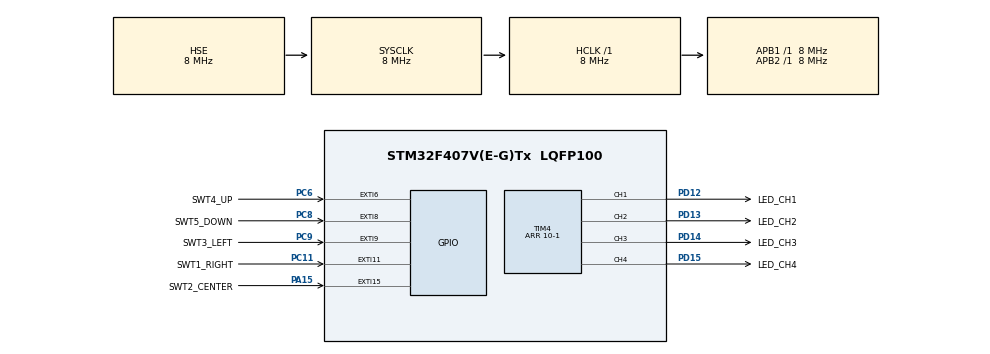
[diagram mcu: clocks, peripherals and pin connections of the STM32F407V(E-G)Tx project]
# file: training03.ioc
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Mcu.Family=STM32F4
Mcu.Name=STM32F407V(E-G)Tx
Mcu.Package=LQFP100
Mcu.UserConstants=TIM4_PRESCALER,1
NVIC.EXTI15_10_IRQn=true\:0\:0\:false\:false\:true\:true\:true
NVIC.EXTI9_5_IRQn=true\:0\:0\:false\:false\:true\:true\:true
NVIC.PriorityGroup=NVIC_PRIORITYGROUP_4
PA13.Mode=Serial_Wire
PA13.Signal=SYS_JTMS-SWDIO
PA14.Mode=Serial_Wire
PA14.Signal=SYS_JTCK-SWCLK
PA15.GPIO_Label=SWT2_CENTER
PA15.GPIO_ModeDefaultEXTI=GPIO_MODE_IT_FALLING
PA15.Signal=GPXTI15
PC11.GPIO_Label=SWT1_RIGHT
PC11.GPIO_ModeDefaultEXTI=GPIO_MODE_IT_FALLING
PC11.Signal=GPXTI11
PC6.GPIO_Label=SWT4_UP
PC6.GPIO_ModeDefaultEXTI=GPIO_MODE_IT_FALLING
PC6.Signal=GPXTI6
PC8.GPIO_Label=SWT5_DOWN
PC8.GPIO_ModeDefaultEXTI=GPIO_MODE_IT_FALLING
PC8.Signal=GPXTI8
PC9.GPIO_Label=SWT3_LEFT
PC9.GPIO_ModeDefaultEXTI=GPIO_MODE_IT_FALLING
PC9.Signal=GPXTI9
PD12.GPIO_Label=LED_CH1
PD12.GPIO_PuPd=GPIO_PULLDOWN
PD12.Signal=SharedStack_PD12
PD12.Stacked=true
PD13.GPIO_Label=LED_CH2
PD13.GPIO_PuPd=GPIO_PULLDOWN
PD13.Signal=SharedStack_PD13
PD13.Stacked=true
PD14.GPIO_Label=LED_CH3
PD14.GPIO_PuPd=GPIO_PULLDOWN
PD14.Signal=SharedStack_PD14
PD14.Stacked=true
PD15.GPIO_Label=LED_CH4
PD15.GPIO_PuPd=GPIO_PULLDOWN
PD15.Signal=SharedStack_PD15
PD15.Stacked=true
PH0-OSC_IN.Mode=HSE-External-Oscillator
PH0-OSC_IN.Signal=RCC_OSC_IN
PH1-OSC_OUT.Mode=HSE-External-Oscillator
PH1-OSC_OUT.Signal=RCC_OSC_OUT
ProjectManager.HeapSize=0x200
ProjectManager.StackSize=0x400
ProjectManager.TargetToolchain=STM32CubeIDE
RCC.48MHZClocksFreq_Value=40000000
RCC.AHBFreq_Value=8000000
RCC.APB1Freq_Value=8000000
RCC.APB1TimFreq_Value=8000000
RCC.APB2Freq_Value=8000000
RCC.APB2TimFreq_Value=8000000
RCC.CortexFreq_Value=8000000
RCC.HCLKFreq_Value=8000000
RCC.HSE_VALUE=8000000
RCC.HSI_VALUE=16000000
RCC.LSE_VALUE=32768
RCC.PLLM=8
RCC.PLLN=160
RCC.PLLSourceVirtual=RCC_PLLSOURCE_HSE
RCC.SYSCLKFreq_VALUE=8000000
RCC.SYSCLKSource=RCC_SYSCLKSOURCE_HSE
RCC.VCOOutputFreq_Value=160000000
SH.SharedStack_PD12.0=TIM4_CH1,PWM Generation1 CH1
SH.SharedStack_PD12.1=GPIO_Output+0
SH.SharedStack_PD13.0=TIM4_CH2,PWM Generation2 CH2
SH.SharedStack_PD13.1=GPIO_Output+0
SH.SharedStack_PD14.0=TIM4_CH3,PWM Generation3 CH3
SH.SharedStack_PD14.1=GPIO_Output+0
SH.SharedStack_PD15.0=GPIO_Output+0
SH.SharedStack_PD15.1=TIM4_CH4,PWM Generation4 CH4
TIM4.AutoReloadPreload=TIM_AUTORELOAD_PRELOAD_ENABLE
TIM4.Channel-PWM\ Generation1\ CH1=TIM_CHANNEL_1
TIM4.Channel-PWM\ Generation2\ CH2=TIM_CHANNEL_2
TIM4.Channel-PWM\ Generation3\ CH3=TIM_CHANNEL_3
TIM4.Channel-PWM\ Generation4\ CH4=TIM_CHANNEL_4
TIM4.Period=10-1
TIM4.Prescaler=TIM4_PRESCALER-1
TIM4.Pulse-PWM\ Generation1\ CH1=0
TIM4.Pulse-PWM\ Generation2\ CH2=0
TIM4.Pulse-PWM\ Generation3\ CH3=0
TIM4.Pulse-PWM\ Generation4\ CH4=0
VP_TIM4_VS_ClockSourceINT.Mode=Internal
board=custom

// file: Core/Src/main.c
/* USER CODE BEGIN Header */
/**
  ******************************************************************************
  * @file           : main.c
  * @brief          : Main program body
  ******************************************************************************
  * @attention
  *
  * <h2><center>&copy; Copyright (c) 2021 STMicroelectronics.
  * All rights reserved.</center></h2>
  *
  * This software component is licensed by ST under BSD 3-Clause license,
  * the "License"; You may not use this file except in compliance with the
  * License. You may obtain a copy of the License at:
  *                        opensource.org/licenses/BSD-3-Clause
  *
  ******************************************************************************
  */
/* USER CODE END Header */
#include "main.h"

/* USER CODE BEGIN PTD */
typedef enum TimChannel {
	TIM_CH_0 = 0,
	TIM_CH_1,
	TIM_CH_2,
	TIM_CH_3,
	TIM_CH_END,
} TimChannel;
typedef struct PwmState {
	TimChannel ch;
	uint8_t pwm;
	int32_t freq;
	int32_t baseFreq;
} PwmState;
/* USER CODE END PTD */

/* USER CODE BEGIN PD */
#define PWM_DCYCLE_STEP 5
#define PWM_FREQ_STEP 5000
#define PWM_FREQ_MIN PWM_FREQ_STEP
#define PWM_FREQ_MAX (20*PWM_FREQ_STEP)
#define PWM_MAX_DUTY 100
#define PWM_MIN_DUTY 0
/* USER CODE END PD */

TIM_HandleTypeDef htim4;

/* USER CODE BEGIN PV */
volatile PwmState pwm = {.ch = TIM_CH_0, .pwm = 50, .freq = PWM_FREQ_STEP, .baseFreq = -1};
/* USER CODE END PV */

void SystemClock_Config(void);
static void MX_GPIO_Init(void);
static void MX_TIM4_Init(void);
/* USER CODE BEGIN PFP */
void updatePWM(volatile const PwmState *pwm);
int32_t divRound(int32_t x, int32_t y);
/* USER CODE END PFP */

/* USER CODE BEGIN 0 */
/**
  * @brief  EXTI line detection callbacks.
  * @param  GPIO_Pin Specifies the pins connected EXTI line
  * @retval None
  */
void HAL_GPIO_EXTI_Callback(uint16_t GPIO_Pin)
{
	switch(GPIO_Pin) {
	case SWT2_CENTER_Pin:
		// Next channel
		if ((++pwm.ch) >= TIM_CH_END)
			pwm.ch = TIM_CH_0;
		updatePWM(&pwm);
		break;
	case SWT1_RIGHT_Pin:
		// Increase width
	{
		register int8_t timPWMNew = pwm.pwm + PWM_DCYCLE_STEP;
		pwm.pwm = (timPWMNew > PWM_MAX_DUTY) ? PWM_MAX_DUTY : (uint8_t)timPWMNew;
		updatePWM(&pwm);
	}
	break;
	case SWT3_LEFT_Pin:
		// Decrease width
	{
		register int8_t timPWMNew = pwm.pwm - PWM_DCYCLE_STEP;
		pwm.pwm = (timPWMNew < PWM_MIN_DUTY) ? PWM_MIN_DUTY : (uint8_t)timPWMNew;
		updatePWM(&pwm);
	}
	break;
	case SWT4_UP_Pin:
		// Increase frequency
	{
		register int32_t timFreqNew = pwm.freq + PWM_FREQ_STEP;
		pwm.freq = (timFreqNew > PWM_FREQ_MAX) ? PWM_FREQ_MAX : (uint32_t)timFreqNew;
		updatePWM(&pwm);
	}
		break;
	case SWT5_DOWN_Pin:
		// Decrease frequency
	{
		register int32_t timFreqNew = pwm.freq - PWM_FREQ_STEP;
		pwm.freq = (timFreqNew < PWM_FREQ_MIN) ? PWM_FREQ_MIN : (uint32_t)timFreqNew;
		updatePWM(&pwm);
	}
		break;
	}
}

/**
 * Update TIM4 registers to selected PWM state
 */
void updatePWM(volatile const PwmState *pwm)
{
	uint16_t pwmPeriod = (uint16_t)divRound(pwm->baseFreq, pwm->freq);
	uint16_t pwmValue = (uint16_t)divRound(pwmPeriod * pwm->pwm, 100);
	htim4.Instance->ARR = pwmPeriod-1;
	switch(pwm->ch) {
	case TIM_CH_0:
		htim4.Instance->CCR1 = pwmValue;
		htim4.Instance->CCR2 = 0;
		htim4.Instance->CCR3 = 0;
		htim4.Instance->CCR4 = 0;
		break;
	case TIM_CH_1:
		htim4.Instance->CCR1 = 0;
		htim4.Instance->CCR2 = pwmValue;
		htim4.Instance->CCR3 = 0;
		htim4.Instance->CCR4 = 0;
		break;
	case TIM_CH_2:
		htim4.Instance->CCR1 = 0;
		htim4.Instance->CCR2 = 0;
		htim4.Instance->CCR3 = pwmValue;
		htim4.Instance->CCR4 = 0;
		break;
	case TIM_CH_3:
		htim4.Instance->CCR1 = 0;
		htim4.Instance->CCR2 = 0;
		htim4.Instance->CCR3 = 0;
		htim4.Instance->CCR4 = pwmValue;
		break;
	default:
		htim4.Instance->CCR1 = 0;
		htim4.Instance->CCR2 = 0;
		htim4.Instance->CCR3 = 0;
		htim4.Instance->CCR4 = 0;
	}
}

/**
  * @brief This function provides minimum delay (in milliseconds) based
  *        on variable incremented.
  * @note Based on default implementation but with sleep between ms tick,
  *       SysTick timer is the source of time base.
  *       It is used to generate interrupts at regular time intervals where uwTick
  *       is incremented.
  * @param Delay specifies the delay time length, in milliseconds.
  * @retval None
  */
void HAL_Delay(uint32_t Delay)
{
  uint32_t tickstart = HAL_GetTick();
  uint32_t wait = Delay;

  /* Add a freq to guarantee minimum wait */
  if (wait < HAL_MAX_DELAY)
  {
    wait += (uint32_t)(uwTickFreq);
  }

  while((HAL_GetTick() - tickstart) < wait)
  {
	  HAL_PWR_EnterSLEEPMode(PWR_MAINREGULATOR_ON, PWR_SLEEPENTRY_WFI);
  }
}

/**
 * Return result of division x/y with math rounding
 */
int32_t divRound(int32_t x, int32_t y) {
	if (y == 0) return 0;

	int8_t resultSign = 1;
	if (x < 0) {
		resultSign = -resultSign;
		x = -x;
	}
	if (y < 0) {
		resultSign = -resultSign;
		y = -y;
	}
	int32_t decimalPart = (x*10 / y) % 10;
	int32_t result = x / y;
	if (decimalPart >= 5) result += 1;
	if (resultSign < 0) result = -result;
	return result;
}
/* USER CODE END 0 */

int main(void)
{

  /* MCU Configuration--------------------------------------------------------*/

  /* Reset of all peripherals, Initializes the Flash interface and the Systick. */
  HAL_Init();

  /* Configure the system clock */
  SystemClock_Config();

  /* Initialize all configured peripherals */
  MX_GPIO_Init();
  MX_TIM4_Init();
  /* USER CODE BEGIN 2 */
  pwm.baseFreq = (int32_t)HAL_RCC_GetPCLK1Freq();
  HAL_TIM_PWM_Start(&htim4, TIM_CHANNEL_1);
  HAL_TIM_PWM_Start(&htim4, TIM_CHANNEL_2);
  HAL_TIM_PWM_Start(&htim4, TIM_CHANNEL_3);
  HAL_TIM_PWM_Start(&htim4, TIM_CHANNEL_4);
  updatePWM(&pwm);
  /* USER CODE END 2 */

  /* Infinite loop */
  /* USER CODE BEGIN WHILE */
  while (1)
  {
	  HAL_PWR_EnterSLEEPMode(PWR_MAINREGULATOR_ON, PWR_SLEEPENTRY_WFI); // sleep to next interrupt
    /* USER CODE END WHILE */

  }
}

void SystemClock_Config(void)
{
  RCC_OscInitTypeDef RCC_OscInitStruct = {0};
  RCC_ClkInitTypeDef RCC_ClkInitStruct = {0};

  /** Configure the main internal regulator output voltage
  */
  __HAL_RCC_PWR_CLK_ENABLE();
  __HAL_PWR_VOLTAGESCALING_CONFIG(PWR_REGULATOR_VOLTAGE_SCALE1);
  /** Initializes the RCC Oscillators according to the specified parameters
  * in the RCC_OscInitTypeDef structure.
  */
  RCC_OscInitStruct.OscillatorType = RCC_OSCILLATORTYPE_HSE;
  RCC_OscInitStruct.HSEState = RCC_HSE_ON;
  RCC_OscInitStruct.PLL.PLLState = RCC_PLL_NONE;
  if (HAL_RCC_OscConfig(&RCC_OscInitStruct) != HAL_OK)
  {
    Error_Handler();
  }
  /** Initializes the CPU, AHB and APB buses clocks
  */
  RCC_ClkInitStruct.ClockType = RCC_CLOCKTYPE_HCLK|RCC_CLOCKTYPE_SYSCLK
                              |RCC_CLOCKTYPE_PCLK1|RCC_CLOCKTYPE_PCLK2;
  RCC_ClkInitStruct.SYSCLKSource = RCC_SYSCLKSOURCE_HSE;
  RCC_ClkInitStruct.AHBCLKDivider = RCC_SYSCLK_DIV1;
  RCC_ClkInitStruct.APB1CLKDivider = RCC_HCLK_DIV1;
  RCC_ClkInitStruct.APB2CLKDivider = RCC_HCLK_DIV1;

  if (HAL_RCC_ClockConfig(&RCC_ClkInitStruct, FLASH_LATENCY_0) != HAL_OK)
  {
    Error_Handler();
  }
}

static void MX_TIM4_Init(void)
{

  TIM_ClockConfigTypeDef sClockSourceConfig = {0};
  TIM_MasterConfigTypeDef sMasterConfig = {0};
  TIM_OC_InitTypeDef sConfigOC = {0};

  htim4.Instance = TIM4;
  htim4.Init.Prescaler = TIM4_PRESCALER-1;
  htim4.Init.CounterMode = TIM_COUNTERMODE_UP;
  htim4.Init.Period = 10-1;
  htim4.Init.ClockDivision = TIM_CLOCKDIVISION_DIV1;
  htim4.Init.AutoReloadPreload = TIM_AUTORELOAD_PRELOAD_ENABLE;
  if (HAL_TIM_Base_Init(&htim4) != HAL_OK)
  {
    Error_Handler();
  }
  sClockSourceConfig.ClockSource = TIM_CLOCKSOURCE_INTERNAL;
  if (HAL_TIM_ConfigClockSource(&htim4, &sClockSourceConfig) != HAL_OK)
  {
    Error_Handler();
  }
  if (HAL_TIM_PWM_Init(&htim4) != HAL_OK)
  {
    Error_Handler();
  }
  sMasterConfig.MasterOutputTrigger = TIM_TRGO_RESET;
  sMasterConfig.MasterSlaveMode = TIM_MASTERSLAVEMODE_DISABLE;
  if (HAL_TIMEx_MasterConfigSynchronization(&htim4, &sMasterConfig) != HAL_OK)
  {
    Error_Handler();
  }
  sConfigOC.OCMode = TIM_OCMODE_PWM1;
  sConfigOC.Pulse = 0;
  sConfigOC.OCPolarity = TIM_OCPOLARITY_HIGH;
  sConfigOC.OCFastMode = TIM_OCFAST_DISABLE;
  if (HAL_TIM_PWM_ConfigChannel(&htim4, &sConfigOC, TIM_CHANNEL_1) != HAL_OK)
  {
    Error_Handler();
  }
  if (HAL_TIM_PWM_ConfigChannel(&htim4, &sConfigOC, TIM_CHANNEL_2) != HAL_OK)
  {
    Error_Handler();
  }
  if (HAL_TIM_PWM_ConfigChannel(&htim4, &sConfigOC, TIM_CHANNEL_3) != HAL_OK)
  {
    Error_Handler();
  }
  if (HAL_TIM_PWM_ConfigChannel(&htim4, &sConfigOC, TIM_CHANNEL_4) != HAL_OK)
  {
    Error_Handler();
  }
  HAL_TIM_MspPostInit(&htim4);

}

static void MX_GPIO_Init(void)
{
  GPIO_InitTypeDef GPIO_InitStruct = {0};

  /* GPIO Ports Clock Enable */
  __HAL_RCC_GPIOH_CLK_ENABLE();
  __HAL_RCC_GPIOD_CLK_ENABLE();
  __HAL_RCC_GPIOC_CLK_ENABLE();
  __HAL_RCC_GPIOA_CLK_ENABLE();

  /*Configure GPIO pins : SWT4_UP_Pin SWT5_DOWN_Pin SWT3_LEFT_Pin SWT1_RIGHT_Pin */
  GPIO_InitStruct.Pin = SWT4_UP_Pin|SWT5_DOWN_Pin|SWT3_LEFT_Pin|SWT1_RIGHT_Pin;
  GPIO_InitStruct.Mode = GPIO_MODE_IT_FALLING;
  GPIO_InitStruct.Pull = GPIO_NOPULL;
  HAL_GPIO_Init(GPIOC, &GPIO_InitStruct);

  /*Configure GPIO pin : SWT2_CENTER_Pin */
  GPIO_InitStruct.Pin = SWT2_CENTER_Pin;
  GPIO_InitStruct.Mode = GPIO_MODE_IT_FALLING;
  GPIO_InitStruct.Pull = GPIO_NOPULL;
  HAL_GPIO_Init(SWT2_CENTER_GPIO_Port, &GPIO_InitStruct);

  /* EXTI interrupt init*/
  HAL_NVIC_SetPriority(EXTI9_5_IRQn, 0, 0);
  HAL_NVIC_EnableIRQ(EXTI9_5_IRQn);

  HAL_NVIC_SetPriority(EXTI15_10_IRQn, 0, 0);
  HAL_NVIC_EnableIRQ(EXTI15_10_IRQn);

}

void Error_Handler(void)
{
  __disable_irq();
  while (1)
  {
  }
}

/************************ (C) COPYRIGHT STMicroelectronics *****END OF FILE****/
